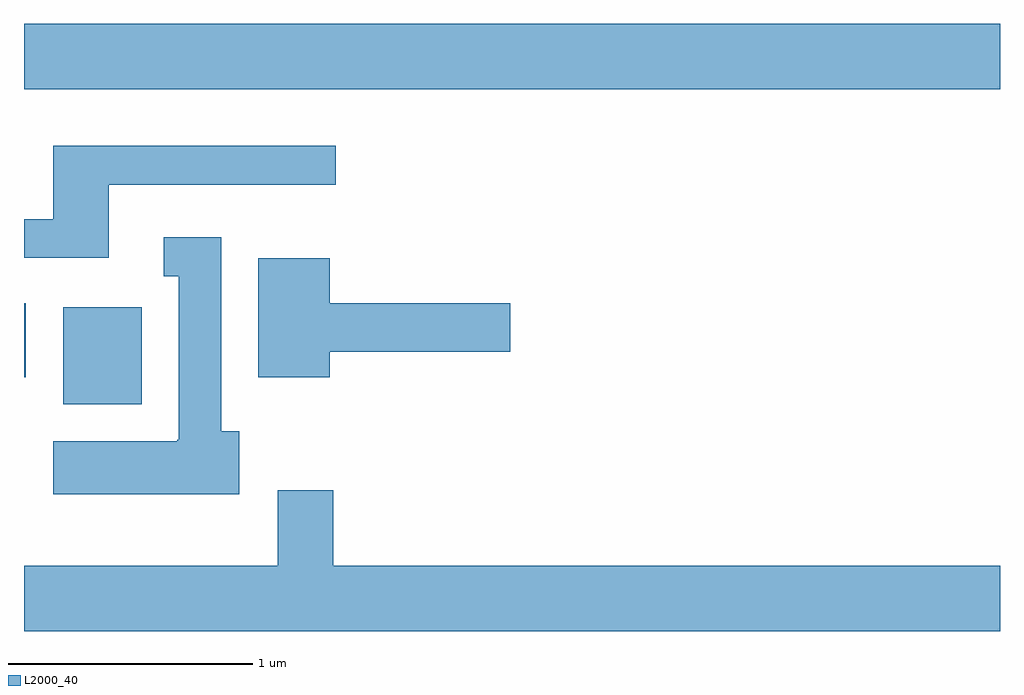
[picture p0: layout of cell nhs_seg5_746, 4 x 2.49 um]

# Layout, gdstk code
import gdstk
lib = gdstk.Library(unit=1e-6, precision=1e-09)
def R(c, l, rs):  # rectangles x0, y0, x1, y1
    for r in rs: c.add(gdstk.rectangle(r[:2], r[2:], *l))
def P(c, l, *ps):  # polygons
    for p in ps: c.add(gdstk.Polygon(p, *l))
L2000_40 = (2000, 40)

nhs_seg5_746 = lib.new_cell('nhs_seg5_746')
R(nhs_seg5_746, L2000_40, [(207.771,1402.226,208.094,1402.624), (207.611,1402.336,207.619,1402.639), (207.611,1403.516,211.611,1403.784)])
P(nhs_seg5_746, L2000_40, [(207.959,1403.126),(208.888,1403.126),(208.888,1403.284),(207.731,1403.284),(207.731,1402.984),(207.611,1402.984),(207.611,1402.826),(207.959,1402.826)],
  [(208.494,1402.114),(208.419,1402.114),(208.419,1402.909),(208.183,1402.909),(208.183,1402.751),(208.246,1402.751),(208.246,1402.08),(208.24,1402.08),(208.24,1402.074),(207.731,1402.074),(207.731,1401.856),(208.494,1401.856)],
  [(208.864,1402.441),(209.604,1402.441),(209.604,1402.639),(208.864,1402.639),(208.864,1402.824),(208.571,1402.824),(208.571,1402.336),(208.864,1402.336)],
  [(211.611,1401.564),(208.879,1401.564),(208.879,1401.874),(208.651,1401.874),(208.651,1401.564),(207.611,1401.564),(207.611,1401.296),(211.611,1401.296)])

lib.write_gds('nhs_seg5_746.gds')
